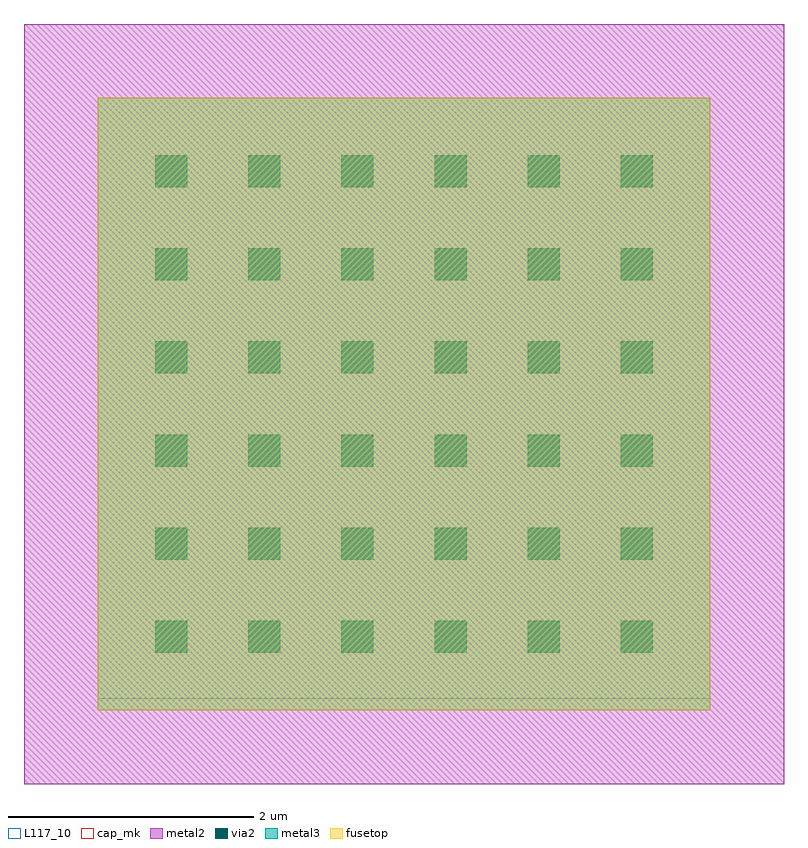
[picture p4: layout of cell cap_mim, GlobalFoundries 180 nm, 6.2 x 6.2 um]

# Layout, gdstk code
import gdstk
lib = gdstk.Library(unit=1e-6, precision=5e-09)
def R(c, l, rs):  # rectangles x0, y0, x1, y1
    for r in rs: c.add(gdstk.rectangle(r[:2], r[2:], *l))
def A(c, l, x, y, w, h, nx, ny, dx, dy):  # array of equal rectangles
    R(c, l, [(x+i*dx, y+j*dy, x+i*dx+w, y+j*dy+h) for i in range(nx) for j in range(ny)])
metal2 = (36, 0)
via2 = (38, 0)
metal3 = (42, 0)
fusetop = (75, 0)
cap_mk = (117, 5)
L117_10 = (117, 10)

cap_mim = lib.new_cell('cap_mim')
R(cap_mim, metal2, [(-0.6,-0.6,5.6,5.6)])
A(cap_mim, via2, 0.47, 0.47, 0.26, 0.26, 6, 6, 0.76, 0.76)
R(cap_mim, metal3, [(0,0,5,5)])
R(cap_mim, fusetop, [(0,0,5,5)])
R(cap_mim, cap_mk, [(-0.6,-0.6,5.6,5.6)])
R(cap_mim, L117_10, [(0,0,5,0.1)])

lib.write_gds('cap_mim.gds')
